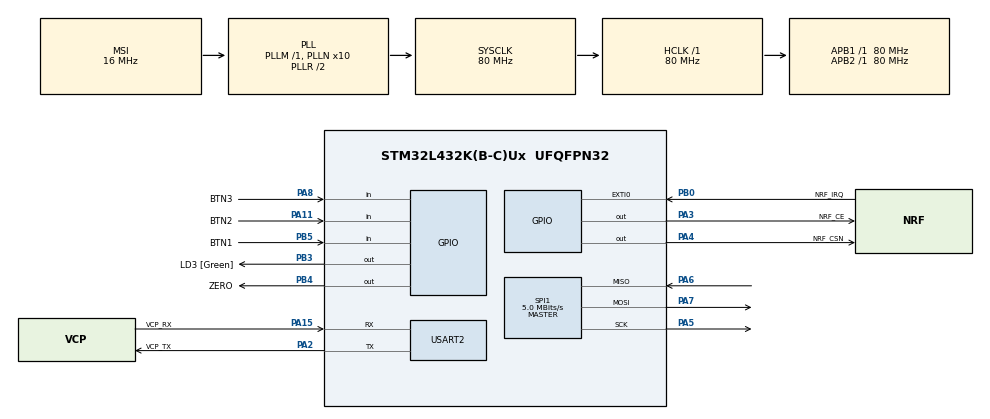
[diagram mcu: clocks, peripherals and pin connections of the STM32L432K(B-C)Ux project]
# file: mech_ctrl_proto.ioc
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Mcu.Family=STM32L4
Mcu.Name=STM32L432K(B-C)Ux
Mcu.Package=UFQFPN32
NVIC.EXTI0_IRQn=true\:0\:0\:false\:false\:true\:true
NVIC.PriorityGroup=NVIC_PRIORITYGROUP_4
PA0.GPIO_Label=MCO [High speed clock in]
PA0.Mode=HSE-External-Clock-Source-for-LittleOrca
PA0.Signal=RCC_CK_IN
PA11.GPIO_Label=BTN2
PA11.GPIO_Mode=GPIO_MODE_INPUT
PA11.GPIO_PuPd=GPIO_PULLUP
PA11.Signal=GPIO_Input
PA13\ (JTMS-SWDIO).GPIO_Label=SWDIO
PA13\ (JTMS-SWDIO).Mode=Serial_Wire
PA13\ (JTMS-SWDIO).Signal=SYS_JTMS-SWDIO
PA14\ (JTCK-SWCLK).GPIO_Label=SWCLK
PA14\ (JTCK-SWCLK).Mode=Serial_Wire
PA14\ (JTCK-SWCLK).Signal=SYS_JTCK-SWCLK
PA15\ (JTDI).GPIO_Label=VCP_RX
PA15\ (JTDI).Mode=Asynchronous
PA15\ (JTDI).Signal=USART2_RX
PA2.GPIO_Label=VCP_TX
PA2.Mode=Asynchronous
PA2.Signal=USART2_TX
PA3.GPIO_Label=NRF_CE
PA3.GPIO_Speed=GPIO_SPEED_FREQ_VERY_HIGH
PA3.PinState=GPIO_PIN_RESET
PA3.Signal=GPIO_Output
PA4.GPIO_Label=NRF_CSN
PA4.GPIO_Speed=GPIO_SPEED_FREQ_VERY_HIGH
PA4.PinState=GPIO_PIN_SET
PA4.Signal=GPIO_Output
PA5.Mode=Full_Duplex_Master
PA5.Signal=SPI1_SCK
PA6.Mode=Full_Duplex_Master
PA6.Signal=SPI1_MISO
PA7.Mode=Full_Duplex_Master
PA7.Signal=SPI1_MOSI
PA8.GPIO_Label=BTN3
PA8.GPIO_Mode=GPIO_MODE_INPUT
PA8.GPIO_PuPd=GPIO_PULLUP
PA8.Signal=GPIO_Input
PB0.GPIO_Label=NRF_IRQ
PB0.GPIO_ModeDefaultEXTI=GPIO_MODE_IT_FALLING
PB0.GPIO_PuPd=GPIO_PULLUP
PB0.Signal=GPXTI0
PB3\ (JTDO-TRACESWO).GPIO_Label=LD3 [Green]
PB3\ (JTDO-TRACESWO).Signal=GPIO_Output
PB4\ (NJTRST).GPIO_Label=ZERO
PB4\ (NJTRST).GPIO_PuPd=GPIO_PULLDOWN
PB4\ (NJTRST).Signal=GPIO_Output
PB5.GPIO_Label=BTN1
PB5.GPIO_Mode=GPIO_MODE_INPUT
PB5.GPIO_PuPd=GPIO_PULLUP
PB5.Signal=GPIO_Input
PC14-OSC32_IN\ (PC14).Mode=LSE-External-Oscillator
PC14-OSC32_IN\ (PC14).Signal=RCC_OSC32_IN
PC15-OSC32_OUT\ (PC15).Mode=LSE-External-Oscillator
PC15-OSC32_OUT\ (PC15).Signal=RCC_OSC32_OUT
ProjectManager.HeapSize=0x200
ProjectManager.StackSize=0x400
ProjectManager.TargetToolchain=SW4STM32
RCC.ADCFreq_Value=64000000
RCC.AHBFreq_Value=80000000
RCC.APB1Freq_Value=80000000
RCC.APB1TimFreq_Value=80000000
RCC.APB2Freq_Value=80000000
RCC.APB2TimFreq_Value=80000000
RCC.CortexFreq_Value=80000000
RCC.HCLKFreq_Value=80000000
RCC.HSE_VALUE=8000000
RCC.HSI16_VALUE=16000000
RCC.HSI48_VALUE=48000000
RCC.HSI_VALUE=16000000
RCC.MSIClockRange=RCC_MSIRANGE_8
RCC.MSI_VALUE=16000000
RCC.PLLMUL=RCC_PLLMUL_4
RCC.PLLN=10
RCC.SYSCLKFreq_VALUE=80000000
RCC.SYSCLKSource=RCC_SYSCLKSOURCE_PLLCLK
RCC.USBFreq_Value=64000000
RCC.VCOOutputFreq_Value=160000000
SPI1.BaudRatePrescaler=SPI_BAUDRATEPRESCALER_16
SPI1.CRCCalculation=SPI_CRCCALCULATION_DISABLE
SPI1.CalculateBaudRate=5.0 MBits/s
SPI1.DataSize=SPI_DATASIZE_8BIT
SPI1.Direction=SPI_DIRECTION_2LINES
SPI1.Mode=SPI_MODE_MASTER
SPI1.NSSPMode=SPI_NSS_PULSE_DISABLE
SPI1.VirtualType=VM_MASTER
USART2.VirtualMode-Asynchronous=VM_ASYNC
board=NUCLEO-L432KC

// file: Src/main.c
/* USER CODE BEGIN Header */
/**
  ******************************************************************************
  * @file           : main.c
  * @brief          : Main program body
  ******************************************************************************
  ** This notice applies to any and all portions of this file
  * that are not between comment pairs USER CODE BEGIN and
  * USER CODE END. Other portions of this file, whether
  * inserted by the user or by software development tools
  * are owned by their respective copyright owners.
  *
  * COPYRIGHT(c) 2019 STMicroelectronics
  *
  * Redistribution and use in source and binary forms, with or without modification,
  * are permitted provided that the following conditions are met:
  *   1. Redistributions of source code must retain the above copyright notice,
  *      this list of conditions and the following disclaimer.
  *   2. Redistributions in binary form must reproduce the above copyright notice,
  *      this list of conditions and the following disclaimer in the documentation
  *      and/or other materials provided with the distribution.
  *   3. Neither the name of STMicroelectronics nor the names of its contributors
  *      may be used to endorse or promote products derived from this software
  *      without specific prior written permission.
  *
  * THIS SOFTWARE IS PROVIDED BY THE COPYRIGHT HOLDERS AND CONTRIBUTORS "AS IS"
  * AND ANY EXPRESS OR IMPLIED WARRANTIES, INCLUDING, BUT NOT LIMITED TO, THE
  * IMPLIED WARRANTIES OF MERCHANTABILITY AND FITNESS FOR A PARTICULAR PURPOSE ARE
  * DISCLAIMED. IN NO EVENT SHALL THE COPYRIGHT HOLDER OR CONTRIBUTORS BE LIABLE
  * FOR ANY DIRECT, INDIRECT, INCIDENTAL, SPECIAL, EXEMPLARY, OR CONSEQUENTIAL
  * DAMAGES (INCLUDING, BUT NOT LIMITED TO, PROCUREMENT OF SUBSTITUTE GOODS OR
  * SERVICES; LOSS OF USE, DATA, OR PROFITS; OR BUSINESS INTERRUPTION) HOWEVER
  * CAUSED AND ON ANY THEORY OF LIABILITY, WHETHER IN CONTRACT, STRICT LIABILITY,
  * OR TORT (INCLUDING NEGLIGENCE OR OTHERWISE) ARISING IN ANY WAY OUT OF THE USE
  * OF THIS SOFTWARE, EVEN IF ADVISED OF THE POSSIBILITY OF SUCH DAMAGE.
  *
  ******************************************************************************
  */
/* USER CODE END Header */

#include "main.h"

SPI_HandleTypeDef hspi1;

UART_HandleTypeDef huart2;

void SystemClock_Config(void);
static void MX_GPIO_Init(void);
static void MX_USART2_UART_Init(void);
static void MX_SPI1_Init(void);

/* USER CODE BEGIN 0 */
int __unused _write(int __unused file, char *data, int len) {
    return (HAL_UART_Transmit(&huart2, (uint8_t *) data, (uint16_t) len, 200) == HAL_OK ? len : 0);
}

/* USER CODE END 0 */

int main(void)
{

  /* MCU Configuration--------------------------------------------------------*/

  /* Reset of all peripherals, Initializes the Flash interface and the Systick. */
  HAL_Init();

  /* Configure the system clock */
  SystemClock_Config();

  /* Initialize all configured peripherals */
  MX_GPIO_Init();
  MX_USART2_UART_Init();
  MX_SPI1_Init();
  /* USER CODE BEGIN 2 */
    radioCheck();
    radioInit();

  /* USER CODE END 2 */

  /* Infinite loop */
  /* USER CODE BEGIN WHILE */
#pragma clang diagnostic push
#pragma clang diagnostic ignored "-Wmissing-noreturn"
  while (1)
  {
    /* USER CODE END WHILE */

    /* USER CODE BEGIN 3 */
      radioLoop();
      HAL_Delay(200);

  }
#pragma clang diagnostic pop
  /* USER CODE END 3 */
}

void SystemClock_Config(void)
{
  RCC_OscInitTypeDef RCC_OscInitStruct = {0};
  RCC_ClkInitTypeDef RCC_ClkInitStruct = {0};
  RCC_PeriphCLKInitTypeDef PeriphClkInit = {0};

  /**Configure LSE Drive Capability
  */
  HAL_PWR_EnableBkUpAccess();
  __HAL_RCC_LSEDRIVE_CONFIG(RCC_LSEDRIVE_LOW);
  /**Initializes the CPU, AHB and APB busses clocks
  */
  RCC_OscInitStruct.OscillatorType = RCC_OSCILLATORTYPE_LSE|RCC_OSCILLATORTYPE_MSI;
  RCC_OscInitStruct.LSEState = RCC_LSE_ON;
  RCC_OscInitStruct.MSIState = RCC_MSI_ON;
  RCC_OscInitStruct.MSICalibrationValue = 0;
  RCC_OscInitStruct.MSIClockRange = RCC_MSIRANGE_8;
  RCC_OscInitStruct.PLL.PLLState = RCC_PLL_ON;
  RCC_OscInitStruct.PLL.PLLSource = RCC_PLLSOURCE_MSI;
  RCC_OscInitStruct.PLL.PLLM = 1;
  RCC_OscInitStruct.PLL.PLLN = 10;
  RCC_OscInitStruct.PLL.PLLP = RCC_PLLP_DIV7;
  RCC_OscInitStruct.PLL.PLLQ = RCC_PLLQ_DIV2;
  RCC_OscInitStruct.PLL.PLLR = RCC_PLLR_DIV2;
  if (HAL_RCC_OscConfig(&RCC_OscInitStruct) != HAL_OK)
  {
    Error_Handler();
  }
  /**Initializes the CPU, AHB and APB busses clocks
  */
  RCC_ClkInitStruct.ClockType = RCC_CLOCKTYPE_HCLK|RCC_CLOCKTYPE_SYSCLK
                              |RCC_CLOCKTYPE_PCLK1|RCC_CLOCKTYPE_PCLK2;
  RCC_ClkInitStruct.SYSCLKSource = RCC_SYSCLKSOURCE_PLLCLK;
  RCC_ClkInitStruct.AHBCLKDivider = RCC_SYSCLK_DIV1;
  RCC_ClkInitStruct.APB1CLKDivider = RCC_HCLK_DIV1;
  RCC_ClkInitStruct.APB2CLKDivider = RCC_HCLK_DIV1;

  if (HAL_RCC_ClockConfig(&RCC_ClkInitStruct, FLASH_LATENCY_4) != HAL_OK)
  {
    Error_Handler();
  }
  PeriphClkInit.PeriphClockSelection = RCC_PERIPHCLK_USART2;
  PeriphClkInit.Usart2ClockSelection = RCC_USART2CLKSOURCE_PCLK1;
  if (HAL_RCCEx_PeriphCLKConfig(&PeriphClkInit) != HAL_OK)
  {
    Error_Handler();
  }
  /**Configure the main internal regulator output voltage
  */
  if (HAL_PWREx_ControlVoltageScaling(PWR_REGULATOR_VOLTAGE_SCALE1) != HAL_OK)
  {
    Error_Handler();
  }
  /**Enable MSI Auto calibration
  */
  HAL_RCCEx_EnableMSIPLLMode();
}

static void MX_SPI1_Init(void)
{

  /* SPI1 parameter configuration*/
  hspi1.Instance = SPI1;
  hspi1.Init.Mode = SPI_MODE_MASTER;
  hspi1.Init.Direction = SPI_DIRECTION_2LINES;
  hspi1.Init.DataSize = SPI_DATASIZE_8BIT;
  hspi1.Init.CLKPolarity = SPI_POLARITY_LOW;
  hspi1.Init.CLKPhase = SPI_PHASE_1EDGE;
  hspi1.Init.NSS = SPI_NSS_SOFT;
  hspi1.Init.BaudRatePrescaler = SPI_BAUDRATEPRESCALER_16;
  hspi1.Init.FirstBit = SPI_FIRSTBIT_MSB;
  hspi1.Init.TIMode = SPI_TIMODE_DISABLE;
  hspi1.Init.CRCCalculation = SPI_CRCCALCULATION_DISABLE;
  hspi1.Init.CRCPolynomial = 7;
  hspi1.Init.CRCLength = SPI_CRC_LENGTH_DATASIZE;
  hspi1.Init.NSSPMode = SPI_NSS_PULSE_DISABLE;
  if (HAL_SPI_Init(&hspi1) != HAL_OK)
  {
    Error_Handler();
  }

}

static void MX_USART2_UART_Init(void)
{

  huart2.Instance = USART2;
  huart2.Init.BaudRate = 115200;
  huart2.Init.WordLength = UART_WORDLENGTH_8B;
  huart2.Init.StopBits = UART_STOPBITS_1;
  huart2.Init.Parity = UART_PARITY_NONE;
  huart2.Init.Mode = UART_MODE_TX_RX;
  huart2.Init.HwFlowCtl = UART_HWCONTROL_NONE;
  huart2.Init.OverSampling = UART_OVERSAMPLING_16;
  huart2.Init.OneBitSampling = UART_ONE_BIT_SAMPLE_DISABLE;
  huart2.AdvancedInit.AdvFeatureInit = UART_ADVFEATURE_NO_INIT;
  if (HAL_UART_Init(&huart2) != HAL_OK)
  {
    Error_Handler();
  }

}

static void MX_GPIO_Init(void)
{
  GPIO_InitTypeDef GPIO_InitStruct = {0};

  /* GPIO Ports Clock Enable */
  __HAL_RCC_GPIOC_CLK_ENABLE();
  __HAL_RCC_GPIOA_CLK_ENABLE();
  __HAL_RCC_GPIOB_CLK_ENABLE();

  /*Configure GPIO pin Output Level */
  HAL_GPIO_WritePin(NRF_CE_GPIO_Port, NRF_CE_Pin, GPIO_PIN_RESET);

  /*Configure GPIO pin Output Level */
  HAL_GPIO_WritePin(NRF_CSN_GPIO_Port, NRF_CSN_Pin, GPIO_PIN_SET);

  /*Configure GPIO pin Output Level */
  HAL_GPIO_WritePin(GPIOB, LD3_Pin|ZERO_Pin, GPIO_PIN_RESET);

  /*Configure GPIO pins : NRF_CE_Pin NRF_CSN_Pin */
  GPIO_InitStruct.Pin = NRF_CE_Pin|NRF_CSN_Pin;
  GPIO_InitStruct.Mode = GPIO_MODE_OUTPUT_PP;
  GPIO_InitStruct.Pull = GPIO_NOPULL;
  GPIO_InitStruct.Speed = GPIO_SPEED_FREQ_VERY_HIGH;
  HAL_GPIO_Init(GPIOA, &GPIO_InitStruct);

  /*Configure GPIO pin : NRF_IRQ_Pin */
  GPIO_InitStruct.Pin = NRF_IRQ_Pin;
  GPIO_InitStruct.Mode = GPIO_MODE_IT_FALLING;
  GPIO_InitStruct.Pull = GPIO_PULLUP;
  HAL_GPIO_Init(NRF_IRQ_GPIO_Port, &GPIO_InitStruct);

  /*Configure GPIO pins : BTN3_Pin BTN2_Pin */
  GPIO_InitStruct.Pin = BTN3_Pin|BTN2_Pin;
  GPIO_InitStruct.Mode = GPIO_MODE_INPUT;
  GPIO_InitStruct.Pull = GPIO_PULLUP;
  HAL_GPIO_Init(GPIOA, &GPIO_InitStruct);

  /*Configure GPIO pin : LD3_Pin */
  GPIO_InitStruct.Pin = LD3_Pin;
  GPIO_InitStruct.Mode = GPIO_MODE_OUTPUT_PP;
  GPIO_InitStruct.Pull = GPIO_NOPULL;
  GPIO_InitStruct.Speed = GPIO_SPEED_FREQ_LOW;
  HAL_GPIO_Init(LD3_GPIO_Port, &GPIO_InitStruct);

  /*Configure GPIO pin : ZERO_Pin */
  GPIO_InitStruct.Pin = ZERO_Pin;
  GPIO_InitStruct.Mode = GPIO_MODE_OUTPUT_PP;
  GPIO_InitStruct.Pull = GPIO_PULLDOWN;
  GPIO_InitStruct.Speed = GPIO_SPEED_FREQ_LOW;
  HAL_GPIO_Init(ZERO_GPIO_Port, &GPIO_InitStruct);

  /*Configure GPIO pin : BTN1_Pin */
  GPIO_InitStruct.Pin = BTN1_Pin;
  GPIO_InitStruct.Mode = GPIO_MODE_INPUT;
  GPIO_InitStruct.Pull = GPIO_PULLUP;
  HAL_GPIO_Init(BTN1_GPIO_Port, &GPIO_InitStruct);

  /* EXTI interrupt init*/
  HAL_NVIC_SetPriority(EXTI0_IRQn, 0, 0);
  HAL_NVIC_EnableIRQ(EXTI0_IRQn);

}

void Error_Handler(void)
{
  /* USER CODE BEGIN Error_Handler_Debug */
  /* User can add his own implementation to report the HAL error return state */
    printf("FAIL\r\n");
#pragma clang diagnostic push
#pragma clang diagnostic ignored "-Wmissing-noreturn"
    while (1) {
        HAL_GPIO_TogglePin(LD3_GPIO_Port, LD3_Pin);
        HAL_Delay(50);
    }
#pragma clang diagnostic pop

  /* USER CODE END Error_Handler_Debug */
}

/************************ (C) COPYRIGHT STMicroelectronics *****END OF FILE****/
